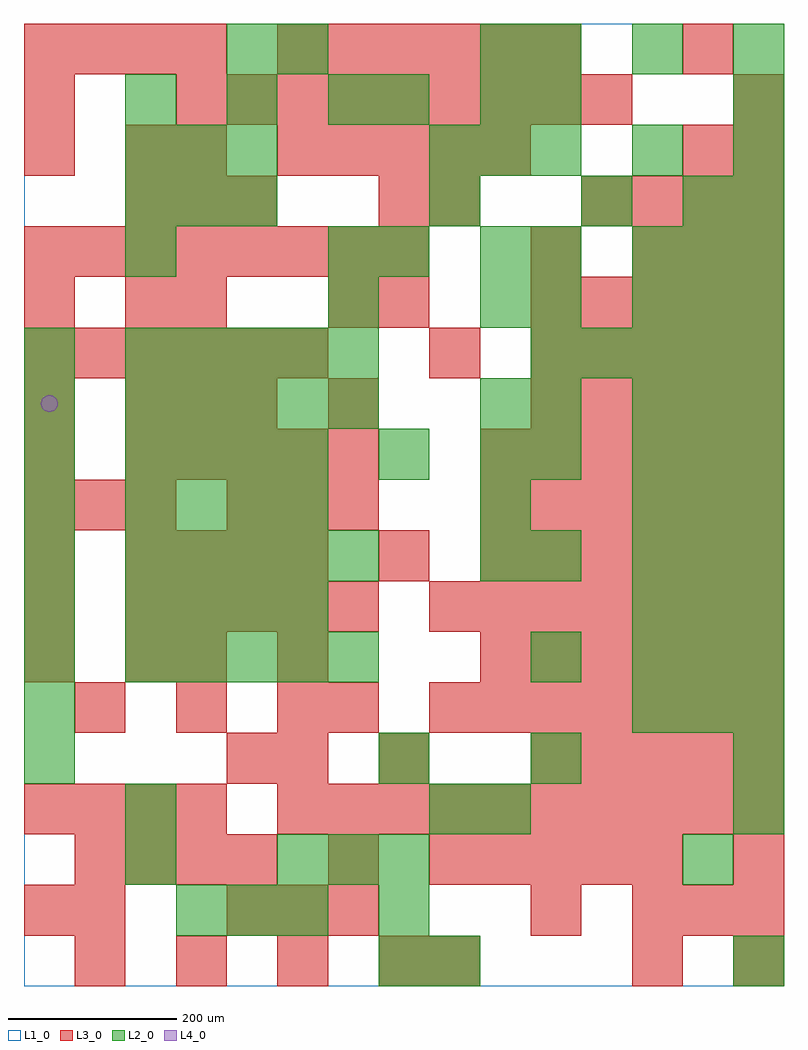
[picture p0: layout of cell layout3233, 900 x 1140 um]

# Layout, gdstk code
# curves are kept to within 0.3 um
import gdstk
lib = gdstk.Library(unit=1e-6, precision=1e-09)
def R(c, l, rs):  # rectangles x0, y0, x1, y1
    for r in rs: c.add(gdstk.rectangle(r[:2], r[2:], *l))
def A(c, l, x, y, w, h, nx, ny, dx, dy):  # array of equal rectangles
    R(c, l, [(x+i*dx, y+j*dy, x+i*dx+w, y+j*dy+h) for i in range(nx) for j in range(ny)])
def P(c, l, *ps):  # polygons
    for p in ps: c.add(gdstk.Polygon(p, *l))
L1_0 = (1, 0)
L2_0 = (2, 0)
L3_0 = (3, 0)
L4_0 = (4, 0)

layout3233 = lib.new_cell('layout3233')
R(layout3233, L1_0, [(0,0,900,1140)])
A(layout3233, L2_0, 180, 60, 60, 60, 3, 1, 60, 0)
A(layout3233, L2_0, 300, 120, 60, 60, 3, 1, 60, 0)
A(layout3233, L2_0, 0, 240, 60, 60, 1, 9, 0, 60)
A(layout3233, L2_0, 600, 240, 60, 60, 1, 4, 0, 120)
A(layout3233, L2_0, 720, 300, 60, 60, 3, 7, 60, 60)
A(layout3233, L2_0, 120, 360, 60, 60, 5, 2, 60, 120)
A(layout3233, L2_0, 120, 420, 60, 60, 4, 2, 60, 120)
A(layout3233, L2_0, 540, 480, 60, 60, 1, 4, 0, 60)
A(layout3233, L2_0, 120, 600, 60, 60, 4, 1, 60, 0)
A(layout3233, L2_0, 120, 660, 60, 60, 5, 2, 60, 60)
A(layout3233, L2_0, 600, 720, 60, 60, 5, 1, 60, 0)
A(layout3233, L2_0, 720, 780, 60, 60, 3, 2, 60, 60)
A(layout3233, L2_0, 120, 900, 60, 60, 3, 2, 60, 60)
A(layout3233, L2_0, 840, 900, 60, 60, 1, 3, 0, 60)
A(layout3233, L2_0, 480, 960, 60, 60, 3, 1, 60, 0)
A(layout3233, L2_0, 120, 1020, 60, 60, 3, 1, 120, 0)
A(layout3233, L2_0, 600, 1080, 60, 60, 3, 1, 120, 0)
R(layout3233, L2_0, [(420,0,480,60), (480,0,540,60), (840,0,900,60), (420,60,480,120), (120,120,180,180), (780,120,840,180), (120,180,180,240), (480,180,540,240), (540,180,600,240), (840,180,900,240), (420,240,480,300), (840,240,900,300), (420,600,480,660), (600,660,660,720), (360,780,420,840), (540,780,600,840), (600,780,660,840), (120,840,180,900), (360,840,420,900), (420,840,480,900), (540,840,600,900), (600,840,660,900), (480,900,540,960), (660,900,720,960), (780,900,840,960), (720,960,780,1020), (420,1020,480,1080), (540,1020,600,1080), (600,1020,660,1080), (240,1080,300,1140), (300,1080,360,1140), (540,1080,600,1140)])
A(layout3233, L3_0, 60, 0, 60, 60, 4, 1, 120, 0)
A(layout3233, L3_0, 240, 60, 60, 60, 3, 2, 60, 480)
A(layout3233, L3_0, 720, 60, 60, 60, 3, 2, 60, 780)
A(layout3233, L3_0, 60, 120, 60, 60, 4, 1, 60, 0)
A(layout3233, L3_0, 480, 120, 60, 60, 5, 1, 60, 0)
A(layout3233, L3_0, 0, 180, 60, 60, 4, 2, 60, 900)
A(layout3233, L3_0, 300, 180, 60, 60, 10, 1, 60, 0)
A(layout3233, L3_0, 600, 240, 60, 60, 5, 2, 60, 420)
A(layout3233, L3_0, 60, 300, 60, 60, 3, 1, 120, 0)
A(layout3233, L3_0, 480, 300, 60, 60, 7, 2, 60, 120)
A(layout3233, L3_0, 0, 360, 60, 60, 1, 3, 0, 60)
A(layout3233, L3_0, 540, 360, 60, 60, 6, 2, 60, 120)
A(layout3233, L3_0, 120, 420, 60, 60, 5, 2, 60, 180)
A(layout3233, L3_0, 120, 480, 60, 60, 4, 1, 60, 0)
A(layout3233, L3_0, 0, 540, 60, 60, 3, 1, 60, 0)
A(layout3233, L3_0, 540, 540, 60, 60, 6, 2, 60, 60)
A(layout3233, L3_0, 120, 660, 60, 60, 3, 2, 60, 240)
A(layout3233, L3_0, 0, 720, 60, 60, 6, 1, 60, 0)
A(layout3233, L3_0, 600, 720, 60, 60, 5, 2, 60, 60)
A(layout3233, L3_0, 0, 840, 60, 60, 8, 1, 60, 0)
A(layout3233, L3_0, 660, 900, 60, 60, 4, 1, 60, 0)
A(layout3233, L3_0, 300, 960, 60, 60, 5, 1, 60, 0)
A(layout3233, L3_0, 180, 1020, 60, 60, 9, 1, 60, 0)
A(layout3233, L3_0, 300, 1080, 60, 60, 6, 1, 60, 0)
R(layout3233, L3_0, [(480,0,540,60), (720,0,780,60), (840,0,900,60), (0,60,60,120), (60,60,120,120), (600,60,660,120), (360,120,420,180), (840,120,900,180), (240,240,300,300), (300,240,360,300), (420,240,480,300), (360,300,420,360), (120,360,180,420), (180,360,240,420), (300,360,360,420), (420,480,480,540), (0,600,60,660), (0,660,60,720), (360,660,420,720), (480,720,540,780), (0,780,60,840), (120,780,180,840), (180,780,240,840), (360,780,420,840), (420,780,480,840), (600,840,660,900), (420,900,480,960), (480,900,540,960), (0,960,60,1020), (120,960,180,1020), (180,960,240,1020), (780,960,840,1020), (840,960,900,1020), (0,1020,60,1080), (840,1020,900,1080), (780,1080,840,1140)])
P(layout3233, L4_0, [(40,690),(39.239,693.827),(37.071,697.071),(33.827,699.239),(30,700),(26.173,699.239),(22.929,697.071),(20.761,693.827),(20,690),(20.761,686.173),(22.929,682.929),(26.173,680.761),(30,680),(33.827,680.761),(37.071,682.929),(39.239,686.173)])

lib.write_gds('layout3233.gds')
